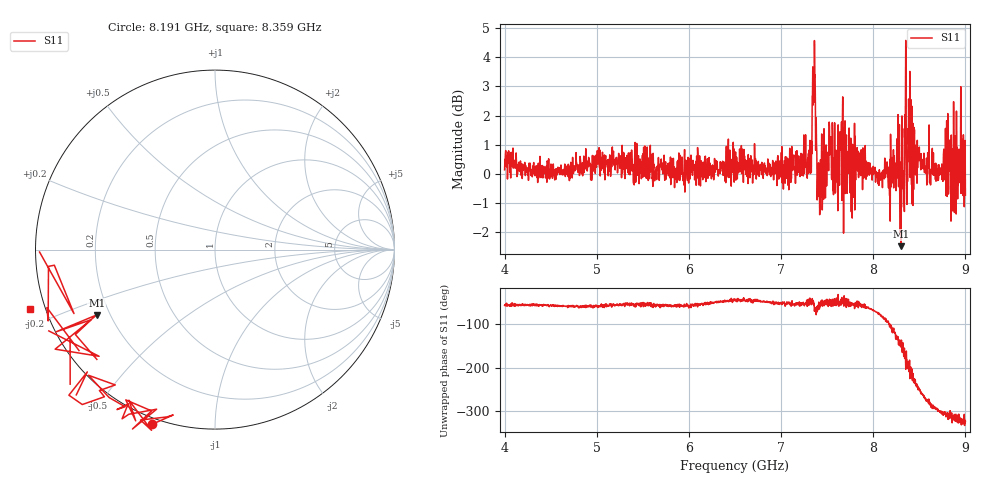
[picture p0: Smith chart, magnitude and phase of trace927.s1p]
! Created with skrf 1.8.0 (http://scikit-rf.org).
# Hz S RI R 50.0
!freq ReS11 ImS11
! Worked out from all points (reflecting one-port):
!   1601 points, 4 GHz to 9 GHz, reference 50 ohm
!   lowest |S11| = -2.5 dB at 8.3 GHz (marker M1), VSWR 7.08, Z = 7.52 - j12.6 ohm
!   phase of S11 starts at -58 deg and turns -265 deg over the sweep
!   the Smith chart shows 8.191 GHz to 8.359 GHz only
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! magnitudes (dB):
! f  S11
! 4 GHz  0.1
! 4.625 GHz  0.0
! 5.25 GHz  0.2
! 5.875 GHz  0.4
! 6.5 GHz  0.5
! 7.125 GHz  0.4
! 7.303 GHz  0.8
! 7.347 GHz  2.4
! 7.362 GHz  4.6
! 7.397 GHz  -0.2
! 7.412 GHz  -0.8
! 7.534 GHz  0.9
! 7.591 GHz  -0.6
! 7.65 GHz  1.2
! 7.75 GHz  -0.6
! 8.191 GHz  0.3
! 8.259 GHz  1.2
! 8.3 GHz  -2.5
! 8.316 GHz  1.2
! 8.334 GHz  -0.9
! 8.347 GHz  1.0
! 8.375 GHz  0.8
! 8.447 GHz  1.5
! 8.7 GHz  0.0
! 8.834 GHz  1.2
! 8.875 GHz  0.6
! 8.972 GHz  0.2
! 9 GHz  -0.7
